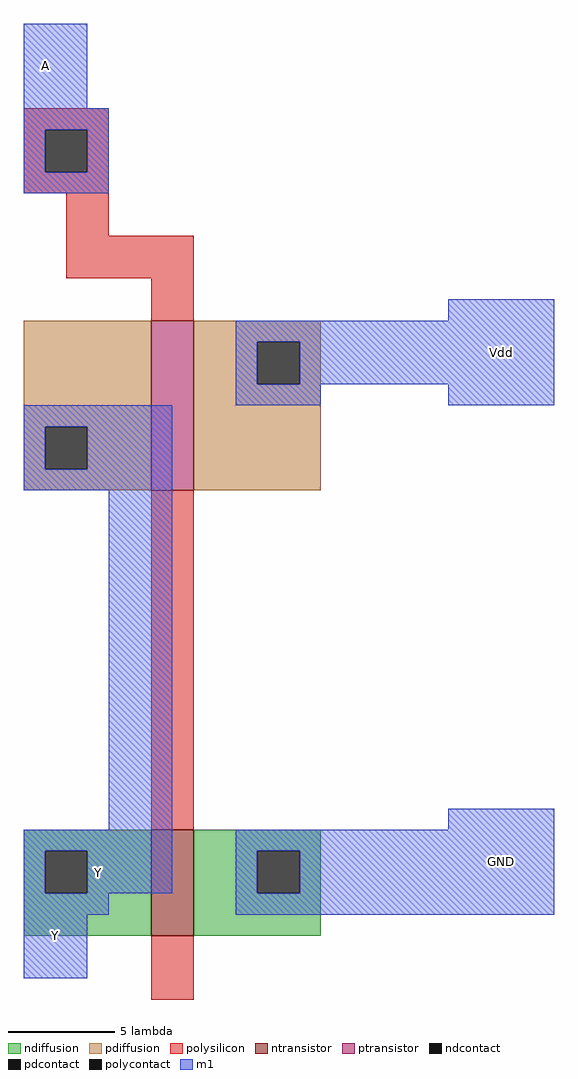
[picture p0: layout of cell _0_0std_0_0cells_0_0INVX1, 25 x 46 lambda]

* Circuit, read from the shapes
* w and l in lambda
.subckt _0_0std_0_0cells_0_0INVX1 A
M1 GND A Y VSUBS nfet w=5 l=2
M2 Vdd A Y NWELL pfet w=8 l=2
.ends

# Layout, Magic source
magic
tech TSMC180
<< ndiffusion >>
rect 6 11 12 12
rect 6 9 7 11
rect 9 9 12 11
rect 6 7 12 9
rect 14 11 20 12
rect 14 9 17 11
rect 19 9 20 11
rect 14 7 20 9
<< ndcontact >>
rect 7 9 9 11
rect 17 9 19 11
<< ntransistor >>
rect 12 7 14 12
<< pdiffusion >>
rect 6 31 12 36
rect 6 29 7 31
rect 9 29 12 31
rect 6 28 12 29
rect 14 35 20 36
rect 14 33 17 35
rect 19 33 20 35
rect 14 28 20 33
<< pdcontact >>
rect 7 29 9 31
rect 17 33 19 35
<< ptransistor >>
rect 12 28 14 36
<< polysilicon >>
rect 6 45 10 46
rect 6 43 7 45
rect 9 43 10 45
rect 6 42 10 43
rect 8 40 10 42
rect 8 38 14 40
rect 12 36 14 38
rect 12 12 14 28
rect 12 4 14 7
<< polycontact >>
rect 7 43 9 45
<< m1 >>
rect 6 46 9 50
rect 6 45 10 46
rect 6 43 7 45
rect 9 43 10 45
rect 6 42 10 43
rect 26 36 31 37
rect 16 35 31 36
rect 16 33 17 35
rect 19 33 31 35
rect 16 32 20 33
rect 26 32 31 33
rect 6 31 13 32
rect 6 29 7 31
rect 9 29 13 31
rect 6 28 13 29
rect 10 12 13 28
rect 26 12 31 13
rect 6 11 13 12
rect 6 9 7 11
rect 9 9 13 11
rect 16 11 31 12
rect 16 9 17 11
rect 19 9 31 11
rect 6 8 10 9
rect 16 8 31 9
rect 6 5 9 8
<< labels >>
rlabel m1 7 48 7 48 3 A
port 4 e
rlabel m1 26 32 31 37 7 Vdd
rlabel m1 9 8 10 12 3 Y
rlabel m1 26 8 31 13 7 GND
rlabel m1 6 5 9 9 2 Y
<< end >>
